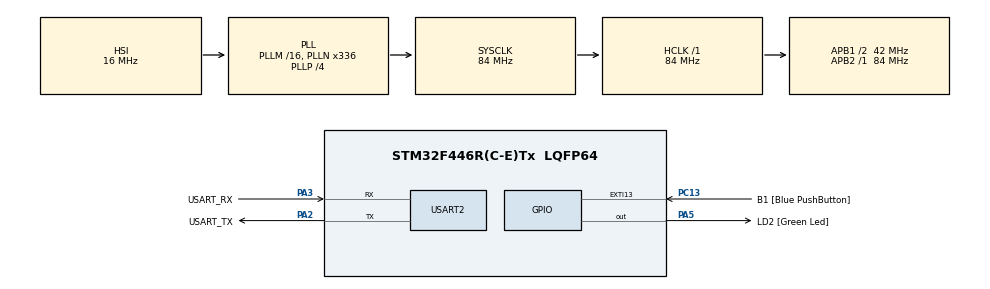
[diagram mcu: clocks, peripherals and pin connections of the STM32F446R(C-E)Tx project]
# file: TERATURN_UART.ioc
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Mcu.Family=STM32F4
Mcu.Name=STM32F446R(C-E)Tx
Mcu.Package=LQFP64
NVIC.PriorityGroup=NVIC_PRIORITYGROUP_0
NVIC.USART2_IRQn=true\:0\:0\:false\:false\:true\:true\:true\:true
PA13.GPIO_Label=TMS
PA13.Mode=Serial_Wire
PA13.Signal=SYS_JTMS-SWDIO
PA14.GPIO_Label=TCK
PA14.Mode=Serial_Wire
PA14.Signal=SYS_JTCK-SWCLK
PA2.GPIO_Label=USART_TX
PA2.Mode=Asynchronous
PA2.Signal=USART2_TX
PA3.GPIO_Label=USART_RX
PA3.Mode=Asynchronous
PA3.Signal=USART2_RX
PA5.GPIO_Label=LD2 [Green Led]
PA5.Signal=GPIO_Output
PB3.GPIO_Label=SWO
PB3.Signal=SYS_JTDO-SWO
PC13.GPIO_Label=B1 [Blue PushButton]
PC13.GPIO_ModeDefaultEXTI=GPIO_MODE_IT_FALLING
PC13.Signal=GPXTI13
PC14-OSC32_IN.Mode=LSE-External-Oscillator
PC14-OSC32_IN.Signal=RCC_OSC32_IN
PC15-OSC32_OUT.Mode=LSE-External-Oscillator
PC15-OSC32_OUT.Signal=RCC_OSC32_OUT
PH0-OSC_IN.Mode=HSE-External-Oscillator
PH0-OSC_IN.Signal=RCC_OSC_IN
PH1-OSC_OUT.Mode=HSE-External-Oscillator
PH1-OSC_OUT.Signal=RCC_OSC_OUT
ProjectManager.HeapSize=0x200
ProjectManager.StackSize=0x400
ProjectManager.TargetToolchain=STM32CubeIDE
RCC.48MHZClocksFreq_Value=84000000
RCC.AHBFreq_Value=84000000
RCC.APB1CLKDivider=RCC_HCLK_DIV2
RCC.APB1Freq_Value=42000000
RCC.APB1TimFreq_Value=84000000
RCC.APB2Freq_Value=84000000
RCC.APB2TimFreq_Value=84000000
RCC.CortexFreq_Value=84000000
RCC.FLatency-AdvancedSettings=FLASH_LATENCY_2
RCC.HCLKFreq_Value=84000000
RCC.HSE_VALUE=8000000
RCC.HSI_VALUE=16000000
RCC.PLLN=336
RCC.PLLP=RCC_PLLP_DIV4
RCC.SYSCLKFreq_VALUE=84000000
RCC.SYSCLKSource=RCC_SYSCLKSOURCE_PLLCLK
RCC.USBFreq_Value=168000000
RCC.VCOOutputFreq_Value=336000000
USART2.VirtualMode=VM_ASYNC
board=NUCLEO-F446RE

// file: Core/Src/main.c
/* USER CODE BEGIN Header */
/**
  ******************************************************************************
  * @file           : main.c
  * @brief          : Main program body
  ******************************************************************************
  * @attention
  *
  * Copyright (c) 2025 STMicroelectronics.
  * All rights reserved.
  *
  * This software is licensed under terms that can be found in the LICENSE file
  * in the root directory of this software component.
  * If no LICENSE file comes with this software, it is provided AS-IS.
  *
  ******************************************************************************
  */
/* USER CODE END Header */
#include "main.h"
#include <string.h>
#include "stm32f4xx_hal.h"

/* USER CODE BEGIN PD */
#define TRUE 1
#define FALSE 0
//#include <string.h>
//#include "stm32fxx_hal.h"
/* USER CODE END PD */

UART_HandleTypeDef huart2;

/* USER CODE BEGIN PV */

char *user_data = "Transmite via UART";

uint8_t data_buffer[100];
uint8_t recvd_data;
uint32_t count = 0;
uint8_t reception_complete = FALSE;

/* USER CODE END PV */

void SystemClock_Config(void);
static void MX_GPIO_Init(void);
static void MX_USART2_UART_Init(void);

/* USER CODE BEGIN 0 */
uint8_t covert_to_captital(uint8_t recvd_data);

/* USER CODE END 0 */

int main(void)
{

  HAL_Init();
  SystemClock_Config();
  MX_GPIO_Init();
  MX_USART2_UART_Init();

  uint16_t len_of_data = strlen(user_data);
  HAL_UART_Transmit(&huart2, (uint8_t *)user_data, len_of_data, HAL_MAX_DELAY);

  while(reception_complete != TRUE){
	  HAL_UART_Receive_IT(&huart2, &recvd_data, 1);
  }

  while (1);

  return 0;

}

void SystemClock_Config(void)
{
  RCC_OscInitTypeDef RCC_OscInitStruct = {0};
  RCC_ClkInitTypeDef RCC_ClkInitStruct = {0};

  /** Configure the main internal regulator output voltage
  */
  __HAL_RCC_PWR_CLK_ENABLE();
  __HAL_PWR_VOLTAGESCALING_CONFIG(PWR_REGULATOR_VOLTAGE_SCALE3);

  /** Initializes the RCC Oscillators according to the specified parameters
  * in the RCC_OscInitTypeDef structure.
  */
  RCC_OscInitStruct.OscillatorType = RCC_OSCILLATORTYPE_HSI;
  RCC_OscInitStruct.HSIState = RCC_HSI_ON;
  RCC_OscInitStruct.HSICalibrationValue = RCC_HSICALIBRATION_DEFAULT;
  RCC_OscInitStruct.PLL.PLLState = RCC_PLL_ON;
  RCC_OscInitStruct.PLL.PLLSource = RCC_PLLSOURCE_HSI;
  RCC_OscInitStruct.PLL.PLLM = 16;
  RCC_OscInitStruct.PLL.PLLN = 336;
  RCC_OscInitStruct.PLL.PLLP = RCC_PLLP_DIV4;
  RCC_OscInitStruct.PLL.PLLQ = 2;
  RCC_OscInitStruct.PLL.PLLR = 2;
  if (HAL_RCC_OscConfig(&RCC_OscInitStruct) != HAL_OK)
  {
    Error_Handler();
  }

  /** Initializes the CPU, AHB and APB buses clocks
  */
  RCC_ClkInitStruct.ClockType = RCC_CLOCKTYPE_HCLK|RCC_CLOCKTYPE_SYSCLK
                              |RCC_CLOCKTYPE_PCLK1|RCC_CLOCKTYPE_PCLK2;
  RCC_ClkInitStruct.SYSCLKSource = RCC_SYSCLKSOURCE_PLLCLK;
  RCC_ClkInitStruct.AHBCLKDivider = RCC_SYSCLK_DIV1;
  RCC_ClkInitStruct.APB1CLKDivider = RCC_HCLK_DIV2;
  RCC_ClkInitStruct.APB2CLKDivider = RCC_HCLK_DIV1;

  if (HAL_RCC_ClockConfig(&RCC_ClkInitStruct, FLASH_LATENCY_2) != HAL_OK)
  {
    Error_Handler();
  }
}

static void MX_USART2_UART_Init(void)
{

  huart2.Instance = USART2;
  huart2.Init.BaudRate = 115200;
  huart2.Init.WordLength = UART_WORDLENGTH_8B;
  huart2.Init.StopBits = UART_STOPBITS_1;
  huart2.Init.Parity = UART_PARITY_NONE;
  huart2.Init.Mode = UART_MODE_TX_RX;
  huart2.Init.HwFlowCtl = UART_HWCONTROL_NONE;
  huart2.Init.OverSampling = UART_OVERSAMPLING_16;
  if (HAL_UART_Init(&huart2) != HAL_OK)
  {
    Error_Handler();
  }

}

static void MX_GPIO_Init(void)
{
  GPIO_InitTypeDef GPIO_InitStruct = {0};

  /* GPIO Ports Clock Enable */
  __HAL_RCC_GPIOC_CLK_ENABLE();
  __HAL_RCC_GPIOH_CLK_ENABLE();
  __HAL_RCC_GPIOA_CLK_ENABLE();
  __HAL_RCC_GPIOB_CLK_ENABLE();

  /*Configure GPIO pin Output Level */
  HAL_GPIO_WritePin(LD2_GPIO_Port, LD2_Pin, GPIO_PIN_RESET);

  /*Configure GPIO pin : B1_Pin */
  GPIO_InitStruct.Pin = B1_Pin;
  GPIO_InitStruct.Mode = GPIO_MODE_IT_FALLING;
  GPIO_InitStruct.Pull = GPIO_NOPULL;
  HAL_GPIO_Init(B1_GPIO_Port, &GPIO_InitStruct);

  /*Configure GPIO pin : LD2_Pin */
  GPIO_InitStruct.Pin = LD2_Pin;
  GPIO_InitStruct.Mode = GPIO_MODE_OUTPUT_PP;
  GPIO_InitStruct.Pull = GPIO_NOPULL;
  GPIO_InitStruct.Speed = GPIO_SPEED_FREQ_LOW;
  HAL_GPIO_Init(LD2_GPIO_Port, &GPIO_InitStruct);

}

/* USER CODE BEGIN 4 */

void HAL_UART_RxCpltCallback(UART_HandleTypeDef *huart){
	if (recvd_data == '\r'){
		reception_complete = TRUE;
		data_buffer[count++] = '\r';
		 HAL_UART_Transmit(&huart2, data_buffer, count, HAL_MAX_DELAY);
	}
	else{
		data_buffer[count++] = recvd_data;
	}
}

uint8_t covert_to_captital(uint8_t data){
	if(data >= 'a' && data <= 'z')
	{
		data = data - ('a'-'A');
	}
	return data;
}

/* USER CODE END 4 */

void Error_Handler(void)
{
  __disable_irq();
  while (1)
  {
  }
}
